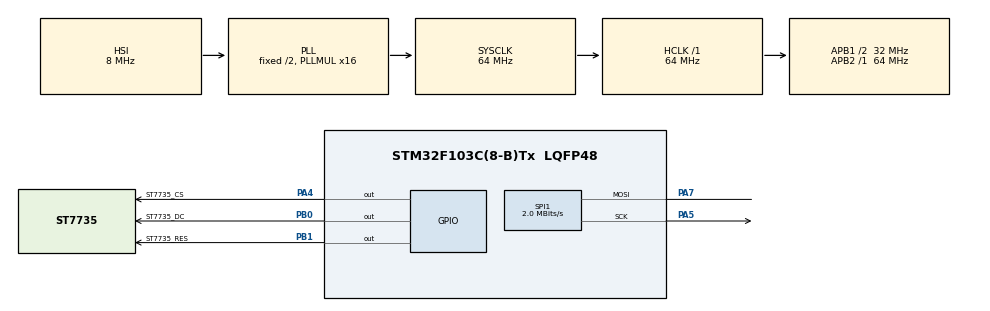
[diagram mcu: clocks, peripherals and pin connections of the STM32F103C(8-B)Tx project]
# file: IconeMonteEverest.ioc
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Mcu.Family=STM32F1
Mcu.Name=STM32F103C(8-B)Tx
Mcu.Package=LQFP48
NVIC.PriorityGroup=NVIC_PRIORITYGROUP_4
PA13.Mode=Serial_Wire
PA13.Signal=SYS_JTMS-SWDIO
PA14.Mode=Serial_Wire
PA14.Signal=SYS_JTCK-SWCLK
PA4.GPIO_Label=ST7735_CS
PA4.Signal=GPIO_Output
PA5.Mode=Simplex_Bidirectional_Master
PA5.Signal=SPI1_SCK
PA7.Mode=Simplex_Bidirectional_Master
PA7.Signal=SPI1_MOSI
PB0.GPIO_Label=ST7735_DC
PB0.Signal=GPIO_Output
PB1.GPIO_Label=ST7735_RES
PB1.Signal=GPIO_Output
ProjectManager.HeapSize=0x200
ProjectManager.StackSize=0x400
ProjectManager.TargetToolchain=STM32CubeIDE
RCC.AHBFreq_Value=64000000
RCC.APB1CLKDivider=RCC_HCLK_DIV2
RCC.APB1Freq_Value=32000000
RCC.APB1TimFreq_Value=64000000
RCC.APB2Freq_Value=64000000
RCC.APB2TimFreq_Value=64000000
RCC.HCLKFreq_Value=64000000
RCC.PLLMUL=RCC_PLL_MUL16
RCC.SYSCLKFreq_VALUE=64000000
RCC.SYSCLKSource=RCC_SYSCLKSOURCE_PLLCLK
RCC.USBFreq_Value=64000000
SPI1.BaudRatePrescaler=SPI_BAUDRATEPRESCALER_32
SPI1.CLKPolarity=SPI_POLARITY_LOW
SPI1.CalculateBaudRate=2.0 MBits/s
SPI1.Direction=SPI_DIRECTION_1LINE
SPI1.Mode=SPI_MODE_MASTER
SPI1.VirtualType=VM_MASTER
board=custom

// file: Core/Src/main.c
/* USER CODE BEGIN Header */
/**
  ******************************************************************************
  * @file           : main.c
  * @brief          : Main program body
  ******************************************************************************
  * @attention
  *
  * <h2><center>&copy; Copyright (c) 2025 STMicroelectronics.
  * All rights reserved.</center></h2>
  *
  * This software component is licensed by ST under BSD 3-Clause license,
  * the "License"; You may not use this file except in compliance with the
  * License. You may obtain a copy of the License at:
  *                        opensource.org/licenses/BSD-3-Clause
  *
  ******************************************************************************
  */
/* USER CODE END Header */
#include "main.h"

/* USER CODE BEGIN Includes */
#include "st7735\st7735.h"
#include <stdio.h>
/* USER CODE END Includes */

SPI_HandleTypeDef hspi1;

/* USER CODE BEGIN PV */
/*#define ANA_LELE_HEIGHT 24
#define ANA_LELE_WIDTH 24

// array size is 1152
static const uint16_t Ana_lele[][24*24/2] = {
  0x83ff, 0x80ff, 0x80ff, 0x80ff, 0x81ff, 0xffff, 0xffff, 0xffff, 0xffff, 0xffff, 0xffff, 0x9fdf, 0x7ed7, 0x3ecf, 0xbdb6, 0x1dbf, 0x1db7, 0xdda6, 0x1daf, 0x9fdf, 0xffff, 0xffff, 0xffff, 0xffff,
  0x80ff, 0x80ff, 0x80ff, 0x80ff, 0x80ff, 0xffff, 0xffff, 0xffff, 0xffff, 0xffff, 0x9edf, 0x1db7, 0x1db7, 0xddb6, 0x19b6, 0xd0cc, 0xb5bd, 0x1db7, 0xdd9e, 0xdda6, 0x9edf, 0xffff, 0xffff, 0xffff,
  0x80ff, 0x80ff, 0x80ff, 0x80ff, 0xcdff, 0xffff, 0xffff, 0xffff, 0xffff, 0x9edf, 0x1db7, 0x1db7, 0x39ae, 0x39b6, 0x8fcc, 0x0cc4, 0x4ec4, 0xf7bd, 0x1db7, 0xdd9e, 0xdd9e, 0x9edf, 0xffff, 0xffff,
  0x80ff, 0x80ff, 0x80ff, 0xcdff, 0xffff, 0xffff, 0xffff, 0xffff, 0x5ec7, 0xfda6, 0x1daf, 0xb6b5, 0x95ad, 0x6ec4, 0x6ecc, 0xd0cc, 0x0dc4, 0x2dc4, 0x53bd, 0x1daf, 0xdd9e, 0xdd9e, 0x9edf, 0xffff,
  0xffff, 0xffff, 0xffff, 0xffff, 0xffff, 0xffff, 0xffff, 0x1eb7, 0xdd9e, 0xfdae, 0xb6b5, 0xd6a5, 0x0cbc, 0x4ec4, 0x72d5, 0x3bf7, 0x2cc4, 0xebbb, 0xebbb, 0x32bd, 0xfda6, 0xdd9e, 0xfda6, 0x9edf,
  0xffff, 0xffff, 0xffff, 0xffff, 0xffff, 0xffff, 0x3ebf, 0xdd9e, 0xddae, 0x95bd, 0xd6a5, 0x0bbc, 0xebbb, 0x11cd, 0xffff, 0x3bf7, 0xf0cc, 0x2cbc, 0xebbb, 0xebbb, 0x12c5, 0x3ebf, 0xfda6, 0x3ebf,
  0xffff, 0xffff, 0xffff, 0xffff, 0x9fdf, 0x3ebf, 0xfda6, 0x39b6, 0x18ae, 0xf8a5, 0x2dc4, 0x0cbc, 0x6dc4, 0xffff, 0xffff, 0xffff, 0x72d5, 0xcfcc, 0x0cbc, 0xebbb, 0xebbb, 0x32d5, 0x5ec7, 0x1db7,
  0xffff, 0xffff, 0xffff, 0x9edf, 0xdd9e, 0xfda6, 0x19ae, 0x7ba6, 0x7aa6, 0x6ecc, 0x8ecc, 0xafcc, 0xffff, 0xffff, 0xffff, 0xffff, 0xffff, 0x72d5, 0xcfcc, 0xebbb, 0xebbb, 0xebbb, 0x12d5, 0x5ec7,
  0xffff, 0xffff, 0x9edf, 0xfda6, 0xdd9e, 0x18b6, 0x5aa6, 0x59a6, 0x8fcc, 0xcfcc, 0x72d5, 0xffff, 0xffff, 0xffff, 0xffff, 0xffff, 0xffff, 0xffff, 0x72d5, 0xcfcc, 0x0cbc, 0x0cbc, 0x0cc4, 0xb5e5,
  0xffff, 0x9edf, 0xfda6, 0xdda6, 0xf8b5, 0x5aa6, 0xf8ad, 0x6ecc, 0xf0cc, 0x72d5, 0xffff, 0xffff, 0xffff, 0xffff, 0xffff, 0xffff, 0xffff, 0xffff, 0xffff, 0x72d5, 0xf0cc, 0x2cc4, 0x2dc4, 0x4ecc,
  0x9edf, 0xfdae, 0xddae, 0xf7ad, 0x9b9e, 0xf7ad, 0x6ecc, 0x52d5, 0x36e6, 0xffff, 0xffff, 0xffff, 0xffff, 0xffff, 0xffff, 0xffff, 0xffff, 0xffff, 0xffff, 0xffff, 0x36e6, 0x52d5, 0x2cbc, 0x4dc4,
  0x1daf, 0xddae, 0x96bd, 0x39a6, 0x74b5, 0x8fcc, 0x72d5, 0xffff, 0xffff, 0xffff, 0xffff, 0x7def, 0x9ad6, 0x5def, 0x7def, 0x59ce, 0x59ce, 0x5def, 0x5def, 0x59ce, 0x59ce, 0x5def, 0x72d5, 0x6dc4,
  0xddbe, 0x95bd, 0xd6ad, 0x0cbc, 0x8ec4, 0x72d5, 0xffff, 0xffff, 0xffff, 0xffff, 0xffff, 0x59ce, 0x18c6, 0x38c6, 0x59ce, 0x18c6, 0x18c6, 0x18c6, 0x18c6, 0x18c6, 0x18c6, 0x18c6, 0x59ce, 0xb4cd,
  0xb6bd, 0xd7ad, 0x6ecc, 0x4dc4, 0x72d5, 0xffff, 0xffff, 0xffff, 0xffff, 0xffff, 0xffff, 0x38c6, 0x18c6, 0x18c6, 0x18c6, 0x18c6, 0x18c6, 0x18c6, 0x18c6, 0x18c6, 0x18c6, 0x18c6, 0x18c6, 0x38c6,
  0x54b5, 0x6ecc, 0x52d5, 0x36e6, 0xffff, 0xffff, 0xffff, 0xffff, 0xffff, 0xffff, 0xffff, 0x1ce7, 0x18c6, 0x9ad6, 0x18c6, 0x18c6, 0x18c6, 0x18c6, 0x18c6, 0x18c6, 0x18c6, 0x18c6, 0x18c6, 0xfbde,
  0x8fcc, 0x72d5, 0xffff, 0xffff, 0xffff, 0x7def, 0x9ad6, 0x5def, 0xffff, 0xffff, 0xffff, 0xffff, 0xffff, 0xffff, 0x1ce7, 0x18c6, 0x18c6, 0x18c6, 0x18c6, 0xfbde, 0xffff, 0xffff, 0xffff, 0xffff,
  0x72d5, 0xffff, 0xffff, 0x7def, 0x59ce, 0x38c6, 0x18c6, 0x38c6, 0xffff, 0xffff, 0xffff, 0xffff, 0xffff, 0xffff, 0xffff, 0xffff, 0xffff, 0xffff, 0xffff, 0xffff, 0xffff, 0xffff, 0xffff, 0xffff,
  0xffff, 0xffff, 0xffff, 0x59ce, 0x18c6, 0x18c6, 0x18c6, 0x18c6, 0x38c6, 0x59ce, 0x5def, 0xffff, 0xffff, 0xffff, 0xffff, 0xffff, 0xffff, 0xffff, 0xffff, 0xffff, 0xffff, 0xffff, 0xffff, 0xffff,
  0xffff, 0xffff, 0xffff, 0xdbde, 0x18c6, 0x18c6, 0x38c6, 0x38c6, 0x18c6, 0x18c6, 0x38c6, 0xffff, 0xffff, 0xffff, 0xffff, 0xffff, 0xffff, 0xffff, 0xffff, 0xffff, 0xffff, 0xffff, 0xffff, 0xffff,
  0xffff, 0xffff, 0xffff, 0x59ce, 0x18c6, 0x18c6, 0x18c6, 0x18c6, 0x18c6, 0x18c6, 0x18c6, 0xffff, 0xffff, 0xffff, 0xffff, 0xffff, 0xffff, 0xffff, 0xffff, 0xffff, 0xffff, 0xffff, 0xffff, 0xffff,
  0xffff, 0x7def, 0x59ce, 0x18c6, 0x18c6, 0x18c6, 0x18c6, 0x18c6, 0x9ad6, 0x18c6, 0xfbde, 0xffff, 0xffff, 0xffff, 0xffff, 0xffff, 0xffff, 0xffff, 0xffff, 0xffff, 0xffff, 0xffff, 0xffff, 0xffff,
  0xffff, 0x59ce, 0x18c6, 0x18c6, 0x18c6, 0x18c6, 0x18c6, 0x38c6, 0xffff, 0xffff, 0xffff, 0xffff, 0xffff, 0xffff, 0xffff, 0xffff, 0xffff, 0xffff, 0xffff, 0xffff, 0xffff, 0xffff, 0xffff, 0xffff,
  0xffff, 0x1ce7, 0x18c6, 0x18c6, 0x18c6, 0x18c6, 0x18c6, 0xfbde, 0xffff, 0xffff, 0xffff, 0xffff, 0xffff, 0xffff, 0xffff, 0xffff, 0xffff, 0xffff, 0xffff, 0xffff, 0xffff, 0xffff, 0xffff, 0xffff,
  0xffff, 0xffff, 0xffff, 0xffff, 0xffff, 0xffff, 0xffff, 0xffff, 0xffff, 0xffff, 0xffff, 0xffff, 0xffff, 0xffff, 0xffff, 0xffff, 0xffff, 0xffff, 0xffff, 0xffff, 0xffff, 0xffff, 0xffff, 0xffff
};*/
#define _2_HEIGHT 32
#define _2_WIDTH 32

// array size is 2048
static const uint16_t _2[][32*32/2] = {
  0x1d05, 0x1d05, 0x1d05, 0x1d05, 0x1d05, 0x1d05, 0x1d05, 0x1d05, 0x1d05, 0x1d05, 0x1d05, 0x1d05, 0x3d05, 0xbd35, 0xbd35, 0x3d0d, 0x1d05, 0x1d05, 0x3d05, 0xbd35, 0xdd45, 0x7d25, 0x1d05, 0x1d05, 0x1d05, 0x1d05, 0x1d05, 0x1d05, 0x1d05, 0x1d05, 0x1d05, 0x1d05,
  0x1d05, 0x1d05, 0x1d05, 0x1d05, 0x1d05, 0x1d05, 0x1d05, 0x1d05, 0x1d05, 0x1d05, 0x1d05, 0x9d2d, 0x1faf, 0xbfef, 0xbfef, 0x7e7e, 0x3d0d, 0x9d2d, 0x1faf, 0xbfef, 0xffff, 0x9fd7, 0x3d05, 0x1d05, 0x1d05, 0x1d05, 0x1d05, 0x1d05, 0x1d05, 0x1d05, 0x1d05, 0x1d05,
  0xfd4d, 0x5fc7, 0x5fcf, 0xbd35, 0x1d05, 0x1d05, 0x1d05, 0x1d05, 0x1d05, 0x1d05, 0x7d1d, 0x7fcf, 0xffff, 0xffff, 0xffff, 0xffff, 0xffff, 0xffff, 0xffff, 0xffff, 0xffff, 0xffff, 0x7fcf, 0x7d25, 0x1d05, 0x1d05, 0x1d05, 0x1d05, 0x1d05, 0x1d05, 0x1d05, 0x1d05,
  0xffff, 0xffff, 0xffff, 0x9fdf, 0x7e7e, 0x5d15, 0x1d05, 0x1d05, 0x1d05, 0x1d05, 0xdd45, 0xffff, 0xffff, 0xffff, 0xffff, 0xffff, 0xffff, 0xffff, 0xffff, 0xffff, 0xffff, 0xffff, 0xffff, 0xdd45, 0x1d05, 0x1d05, 0x1d05, 0x1d05, 0x1d05, 0x1d05, 0x1d05, 0x1d05,
  0xffff, 0xffff, 0xffff, 0xffff, 0xffff, 0xdd45, 0x1d05, 0x1d05, 0x1d05, 0x3d05, 0x7fcf, 0xffff, 0xffff, 0xffff, 0xffff, 0xffff, 0xffff, 0xffff, 0xffff, 0xffff, 0xffff, 0xffff, 0x1eaf, 0x7d1d, 0x1d05, 0x1d05, 0x1d05, 0x1d05, 0x1d05, 0x1d05, 0x1d05, 0x1d05,
  0xffff, 0xffff, 0xffff, 0xffff, 0xbfe7, 0x9d2d, 0x1d05, 0x1d05, 0x1d05, 0x1d05, 0x5e6e, 0xffff, 0xffff, 0xffff, 0xffff, 0xffff, 0xffff, 0xffff, 0xffff, 0xffff, 0xffff, 0x5fc7, 0x3d05, 0x1d05, 0x1d05, 0x1d05, 0x1d05, 0x1d05, 0x1d05, 0x1d05, 0x1d05, 0x1d05,
  0xffff, 0xffff, 0xdfef, 0x9e86, 0x3d05, 0x1d05, 0x1d05, 0x1d05, 0x1d05, 0x1d05, 0x5d1d, 0xfea6, 0x3fbf, 0x7fd7, 0xffff, 0xffff, 0x5fc7, 0x3e66, 0xbfe7, 0xbfef, 0xdbce, 0x762c, 0x1b1d, 0x1d05, 0x1d05, 0x1d05, 0x1d05, 0x1d05, 0x1d05, 0x1d05, 0x1d05, 0x1d05,
  0xffff, 0xffff, 0x9e86, 0x1d05, 0x1d05, 0x1d05, 0x1d05, 0x1c05, 0x1c05, 0x1c05, 0x1d05, 0x1d05, 0x1d05, 0x5d1d, 0xdd45, 0xdd45, 0x7d1d, 0x1d05, 0x9d2d, 0xf995, 0x6529, 0x4108, 0x6b22, 0x1d05, 0x1d05, 0x1d05, 0x1d05, 0x1d05, 0x1d05, 0x1d05, 0x1d05, 0x1d05,
  0x1d05, 0x1d05, 0x1d05, 0x1d05, 0x1d05, 0x1d05, 0x1c0d, 0x9474, 0x0842, 0xb91c, 0x1d05, 0x1d05, 0x1d05, 0x1d05, 0x1d05, 0x1d05, 0x1d05, 0x1d05, 0xd924, 0x6529, 0x0000, 0x0000, 0x4609, 0x1c0d, 0x1d05, 0x1d05, 0x1d05, 0x1d05, 0x1d05, 0x1d05, 0x1d05, 0x1d05,
  0x1d05, 0x1d05, 0x1d05, 0x1d05, 0x1d05, 0x1c05, 0x936c, 0xa210, 0x0000, 0xd503, 0x1d05, 0x1d05, 0x1d05, 0x1d05, 0x1d05, 0x1d05, 0x1d05, 0x1c05, 0x2e43, 0x2000, 0x4108, 0x2000, 0x6108, 0x160c, 0x1c05, 0x1d05, 0x1d05, 0x1d05, 0x1d05, 0x1d05, 0x1d05, 0x1d05,
  0x1d05, 0x1d05, 0x1d05, 0x1d05, 0x1d05, 0xfc04, 0x8208, 0x0000, 0x0000, 0x931b, 0x1c05, 0x1d05, 0x1d05, 0x1d05, 0x1d05, 0x1d05, 0x1c05, 0x1254, 0x2000, 0x8210, 0xb18c, 0xc631, 0x0000, 0x921b, 0x1c05, 0x1d05, 0x1d05, 0x1d05, 0x1d05, 0x1d05, 0x1c05, 0x3b25,
  0x1d05, 0x1d05, 0x1d05, 0x1d05, 0x1d05, 0xb654, 0x2000, 0x0000, 0x0000, 0x0419, 0xfc04, 0x1d05, 0x1d05, 0x1d05, 0x1d05, 0x1c05, 0xda1c, 0x4519, 0x0000, 0xb294, 0xed4d, 0x6a43, 0x0000, 0xe418, 0xf754, 0x1c05, 0x1d05, 0x1d05, 0x1d05, 0x1c05, 0x1c05, 0xcd32,
  0x1d05, 0x1d05, 0x1d05, 0x1d05, 0x1c0d, 0xa811, 0x0000, 0xcb5a, 0xc318, 0x0000, 0x904b, 0x1d05, 0x1d05, 0x1d05, 0x1d05, 0x1c05, 0xcb52, 0x0000, 0x8529, 0x2b3d, 0x8925, 0x9496, 0x0421, 0x0000, 0x8711, 0x1c0d, 0x1d05, 0x1d05, 0x3c0d, 0x5714, 0xeb5a, 0x4100,
  0x1d05, 0x1d05, 0x1d05, 0x1c05, 0x736c, 0x6108, 0xa210, 0x0d55, 0xf39c, 0x2000, 0x2519, 0xda1c, 0x1c05, 0x1d05, 0x1c05, 0x7544, 0x2000, 0x2000, 0x15a6, 0xaa35, 0x8925, 0x8925, 0xe82b, 0x0000, 0x6108, 0x160c, 0x1c05, 0x1c05, 0x936c, 0xa310, 0x2000, 0x2000,
  0x1d05, 0x1d05, 0x1c05, 0x1b25, 0x8208, 0x0000, 0x6842, 0xed4d, 0x4b45, 0x4421, 0x2000, 0xaa52, 0xda1c, 0x1c05, 0xb91c, 0x0419, 0x2000, 0x2c63, 0x8925, 0x8925, 0x8925, 0x8925, 0x2a35, 0x4419, 0x0000, 0xcb52, 0xf423, 0x8629, 0x0000, 0x0000, 0x8521, 0x149e,
  0x1d05, 0x1d05, 0x1c05, 0xcd2a, 0x0000, 0x2000, 0xe92c, 0x8925, 0xab35, 0xed63, 0x0000, 0x0000, 0x4b1a, 0xf754, 0xa811, 0x0000, 0xa631, 0x1176, 0x8925, 0x8925, 0x8925, 0x8925, 0x6925, 0xcb53, 0x0000, 0x0000, 0x2000, 0x0000, 0x0000, 0xe739, 0x0a2d, 0x8925,
  0x1d05, 0x1d05, 0xb91c, 0x0419, 0x2000, 0x0943, 0x6925, 0x8925, 0x8925, 0x8925, 0x328d, 0x0000, 0xe318, 0xe318, 0x0000, 0x8210, 0x6e64, 0x8925, 0x8925, 0x8925, 0x8925, 0x8925, 0x8925, 0x6925, 0xc318, 0x0000, 0x8210, 0x2a4b, 0xb496, 0x8925, 0x8925, 0x8925,
  0x1d05, 0x1c05, 0x1264, 0x0000, 0xa631, 0xad4d, 0x8925, 0x8925, 0x8925, 0x8925, 0xc934, 0xc318, 0x0000, 0x0000, 0x6529, 0x0d55, 0xed4d, 0x8925, 0x8925, 0x8925, 0x8925, 0x8925, 0x8925, 0x8925, 0xf39c, 0x2000, 0x4529, 0x4c45, 0x8925, 0x8925, 0x8925, 0x8925,
  0x1d05, 0xfc04, 0x8208, 0x0000, 0x251a, 0x6925, 0x8925, 0x8925, 0x8925, 0x8925, 0xcd4d, 0xca4a, 0x0000, 0x0000, 0x872a, 0x8925, 0x8925, 0x8925, 0x8925, 0x8925, 0x8925, 0x8925, 0x8925, 0x8925, 0x4b45, 0x4421, 0x2000, 0xeb5a, 0x8925, 0x8925, 0x8925, 0x8925,
  0x1d05, 0xb654, 0x2000, 0x0000, 0x0a2d, 0x8925, 0x8925, 0x8925, 0x8925, 0x8925, 0x8925, 0x4a35, 0x494a, 0x0000, 0x6421, 0x6b3d, 0x8925, 0x8925, 0x8925, 0x8925, 0x8925, 0x8925, 0x8925, 0x8925, 0xab35, 0xed5b, 0x0000, 0x0000, 0x2e65, 0x8925, 0x8925, 0x8925,
  0x3c0d, 0xc819, 0x0000, 0xeb5a, 0x8925, 0x8925, 0x8925, 0x8925, 0x8925, 0x8925, 0x8925, 0x8925, 0x6824, 0x6108, 0x2000, 0x0934, 0x8925, 0x8925, 0x8925, 0x8925, 0x8925, 0x8925, 0x8925, 0x8925, 0x8925, 0x6925, 0x0319, 0x0000, 0xa309, 0x6925, 0x8925, 0x8925,
  0x5714, 0x8208, 0x0000, 0x6b44, 0x8925, 0x8925, 0x8925, 0x8925, 0x8925, 0x8925, 0x8925, 0x8925, 0x692d, 0x8311, 0x0000, 0x2421, 0x6925, 0x8925, 0x8925, 0x8925, 0x8925, 0x8925, 0x8925, 0x8925, 0x8925, 0x8925, 0xc82b, 0x0000, 0x4421, 0x4b35, 0x8925, 0x8925,
  0x931b, 0x0000, 0x0311, 0x0a2d, 0x8925, 0x8925, 0x8925, 0x8925, 0x8925, 0x8925, 0x8925, 0x8925, 0x8925, 0xad54, 0x0000, 0x0000, 0x4b3d, 0x8925, 0x8925, 0x8925, 0x8925, 0x8925, 0x8925, 0x8925, 0x8925, 0x8925, 0x6824, 0x6108, 0x6108, 0x6824, 0x8925, 0x8925,
  0x4529, 0x0000, 0xe83a, 0x8925, 0x8925, 0x8925, 0x8925, 0x8925, 0x8925, 0x8925, 0x8925, 0x8925, 0x8925, 0x6925, 0x4000, 0x0000, 0x862a, 0x8925, 0x8925, 0x8925, 0x8925, 0x8925, 0x8925, 0x8925, 0x8925, 0x8925, 0x692d, 0x6824, 0x4824, 0x4925, 0x8925, 0x8925,
  0x0000, 0x2000, 0x9496, 0x8925, 0x8925, 0x8925, 0x8925, 0x8925, 0x8925, 0x8925, 0x8925, 0x8925, 0x8925, 0x8925, 0xcb53, 0x8209, 0x4b44, 0x8925, 0x8925, 0x8925, 0x8925, 0x8925, 0x8925, 0x8925, 0x8925, 0x8925, 0x8925, 0x8925, 0x8925, 0x8925, 0x8925, 0x8925,
  0x0000, 0xe739, 0x6925, 0x8925, 0x8925, 0x8925, 0x8925, 0x8925, 0x8925, 0x8925, 0x8925, 0x8925, 0x8925, 0x8925, 0x8925, 0x6925, 0x8925, 0x8925, 0x8925, 0x8925, 0x8925, 0x8925, 0x8925, 0x8925, 0x8925, 0x8925, 0x8925, 0x8925, 0x8925, 0x8925, 0x8925, 0x8925,
  0x041a, 0x0a2d, 0x8925, 0x8925, 0x8925, 0x8925, 0x8925, 0x8925, 0x8925, 0x8925, 0x8925, 0x8925, 0x8925, 0x8925, 0x8925, 0x8925, 0x8925, 0x8925, 0x8925, 0x8925, 0x8925, 0x8925, 0x8925, 0x8925, 0x8925, 0x8925, 0x8925, 0x8925, 0x8925, 0x8925, 0x8925, 0x8925,
  0x8925, 0x8925, 0x8925, 0x8925, 0x8925, 0x8925, 0x8925, 0x8925, 0x8925, 0x8925, 0x8925, 0x8925, 0x8925, 0x8925, 0x8925, 0x8925, 0x8925, 0x8925, 0x8925, 0x8925, 0x8925, 0x8925, 0x8925, 0x8925, 0x8925, 0x8925, 0x8925, 0x8925, 0x8925, 0x8925, 0x8925, 0x8925,
  0x8925, 0x8925, 0x8925, 0x8925, 0x8925, 0x8925, 0x8925, 0x8925, 0x8925, 0x8925, 0x8925, 0x8925, 0x8925, 0x8925, 0x8925, 0x8925, 0x8925, 0x8925, 0x8925, 0x8925, 0x8925, 0x8925, 0x8925, 0x8925, 0x8925, 0x8925, 0x8925, 0x8925, 0x8925, 0x8925, 0x8925, 0x8925,
  0x8925, 0x8925, 0x8925, 0x8925, 0x8925, 0x8925, 0x8925, 0x8925, 0x8925, 0x8925, 0x8925, 0x8925, 0x8925, 0x8925, 0x8925, 0x8925, 0x8925, 0x8925, 0x8925, 0x8925, 0x8925, 0x8925, 0x8925, 0x8925, 0x8925, 0x8925, 0x8925, 0x8925, 0x8925, 0x8925, 0x8925, 0x8925,
  0x8925, 0x8925, 0x8925, 0x8925, 0x8925, 0x8925, 0x8925, 0x8925, 0x8925, 0x8925, 0x8925, 0x8925, 0x8925, 0x8925, 0x8925, 0x8925, 0x8925, 0x8925, 0x8925, 0x8925, 0x8925, 0x8925, 0x8925, 0x8925, 0x8925, 0x8925, 0x8925, 0x8925, 0x8925, 0x8925, 0x8925, 0x8925,
  0x8925, 0x8925, 0x8925, 0x8925, 0x8925, 0x8925, 0x8925, 0x8925, 0x8925, 0x8925, 0x8925, 0x8925, 0x8925, 0x8925, 0x8925, 0x8925, 0x8925, 0x8925, 0x8925, 0x8925, 0x8925, 0x8925, 0x8925, 0x8925, 0x8925, 0x8925, 0x8925, 0x8925, 0x8925, 0x8925, 0x8925, 0x8925
};
#define _1_HEIGHT 32
#define _1_WIDTH 32

// array size is 2048
static const uint16_t _1[][32*32/2] = {
  0xffff, 0xdff7, 0x3d05, 0x1d05, 0x1d05, 0x1d05, 0x1d05, 0x1d05, 0x1d05, 0x1d05, 0x1d05, 0x1d05, 0x1d05, 0x1d05, 0x1d05, 0x1d05, 0x1d05, 0x1d05, 0x3d05, 0xbd35, 0xdd45, 0x7d25, 0x1d05, 0x3d0d, 0xdd3d, 0xdd3d, 0x5d15, 0x1d05, 0x1d05, 0x1d05, 0x1d05, 0x1d05,
  0xffff, 0xffff, 0xdd3d, 0x3d05, 0x3d05, 0x1d05, 0x1d05, 0x1d05, 0x1d05, 0x1d05, 0x1d05, 0x1d05, 0x1d05, 0x1d05, 0x1d05, 0x3d0d, 0x1d56, 0xfea6, 0x5e76, 0xbfef, 0xffff, 0x9fd7, 0x7d1d, 0xfea6, 0xdff7, 0xdff7, 0x1faf, 0x5d1d, 0x3d05, 0x1d05, 0x1d05, 0x1d05,
  0xffff, 0xffff, 0xbfe7, 0x7fd7, 0x5fcf, 0x7d25, 0x1d05, 0x1d05, 0x1d05, 0x1d05, 0x1c05, 0x1d05, 0x1d05, 0x1d05, 0x1d05, 0x5d15, 0xdfef, 0xffff, 0xffff, 0xffff, 0xffff, 0xffff, 0xdff7, 0xffff, 0xffff, 0xffff, 0xffff, 0xffff, 0x7fcf, 0xfd4d, 0x5d15, 0x1d05,
  0xffff, 0xffff, 0xffff, 0xffff, 0xfff7, 0xfea6, 0x5e76, 0x1e5e, 0x1d05, 0x1d05, 0x1d05, 0x1d05, 0x1d05, 0x1d05, 0x1d05, 0x9e86, 0xffff, 0xffff, 0xffff, 0xffff, 0xffff, 0xffff, 0xffff, 0xffff, 0xdfef, 0xffff, 0xffff, 0xffff, 0xffff, 0xfff7, 0xde9e, 0x1d05,
  0xffff, 0xffff, 0xffff, 0xffff, 0xffff, 0xffff, 0xffff, 0xfff7, 0x1d05, 0x1d05, 0x1d05, 0x1d05, 0x1d05, 0x1d05, 0x1d05, 0xdd45, 0x7fcf, 0xffff, 0xffff, 0xffff, 0xffff, 0xffff, 0xffff, 0xffff, 0xffff, 0xffff, 0xffff, 0xffff, 0xffff, 0xffff, 0x1eaf, 0x1d05,
  0xffff, 0xffff, 0xffff, 0xffff, 0xffff, 0xffff, 0xffff, 0x5fc7, 0x1d05, 0x1d05, 0x1d05, 0x1d05, 0x1d05, 0x1d05, 0x1d05, 0x1d05, 0xdd45, 0xffff, 0xffff, 0xffff, 0xffff, 0x9fdf, 0xffff, 0xffff, 0xffff, 0xffff, 0xffff, 0xffff, 0x7fcf, 0xdd45, 0x7d1d, 0x1d05,
  0xffff, 0xffff, 0xffff, 0xffff, 0xdff7, 0x1eaf, 0xfeae, 0x7d25, 0x1d05, 0x1d05, 0x1d05, 0x1d05, 0x1d05, 0x1d05, 0x1d05, 0x1d05, 0x9d2d, 0x3e66, 0xbfe7, 0xbfef, 0xdbce, 0x772c, 0x5c96, 0x7fd7, 0xffff, 0xffff, 0xffff, 0xffff, 0xfea6, 0x1d05, 0x1d05, 0x1d05,
  0xffff, 0xffff, 0xffff, 0x5fc7, 0xdd3d, 0x3d0d, 0x1d05, 0x1c05, 0x1c05, 0x1c05, 0x1d05, 0x1d05, 0x1d05, 0x1d05, 0x1d05, 0x1d05, 0x3d0d, 0x1d05, 0x9d2d, 0xf995, 0x6529, 0x4108, 0x6b22, 0x5d1d, 0xdd45, 0xdd45, 0xdd45, 0xdd45, 0x7d1d, 0x1d05, 0x1d05, 0x1d05,
  0xffff, 0xffff, 0xdff7, 0xdd3d, 0x1d05, 0x1d05, 0x1c0d, 0x9474, 0x0842, 0xb91c, 0x1d05, 0x1d05, 0x1d05, 0x1d05, 0x1d05, 0x1d05, 0x1d05, 0x1d05, 0xd924, 0x6529, 0x0000, 0x0000, 0x4609, 0x1c0d, 0x1d05, 0x1d05, 0x1d05, 0x1d05, 0x1d05, 0x1d05, 0x1d05, 0x1d05,
  0xffff, 0xfff7, 0xbe8e, 0x3d0d, 0x1d05, 0x1c05, 0x936c, 0xa210, 0x0000, 0xd503, 0x1d05, 0x1d05, 0x1d05, 0x1d05, 0x1d05, 0x1d05, 0x1d05, 0x1c05, 0x2e43, 0x2000, 0x4108, 0x2000, 0x6108, 0x160c, 0x1c05, 0x1d05, 0x1d05, 0x1d05, 0x1d05, 0x1d05, 0x1d05, 0x1d05,
  0x3d05, 0x3d05, 0x1d05, 0x1d05, 0x1d05, 0xfc04, 0x8208, 0x0000, 0x0000, 0x931b, 0x1c05, 0x1d05, 0x1d05, 0x1d05, 0x1d05, 0x1d05, 0x1c05, 0x1254, 0x2000, 0x8210, 0xb18c, 0xc631, 0x0000, 0x921b, 0x1c05, 0x1d05, 0x1d05, 0x1d05, 0x1d05, 0x1d05, 0x1c05, 0x3b25,
  0x1d05, 0x1d05, 0x1d05, 0x1d05, 0x1d05, 0xb654, 0x2000, 0x0000, 0x0000, 0x0419, 0xfc04, 0x1d05, 0x1d05, 0x1d05, 0x1d05, 0x1c05, 0xda1c, 0x4519, 0x0000, 0xb294, 0xed4d, 0x6a43, 0x0000, 0xe418, 0xf754, 0x1c05, 0x1d05, 0x1d05, 0x1d05, 0x1c05, 0x1c05, 0xcd32,
  0x1d05, 0x1d05, 0x1d05, 0x1d05, 0x1c0d, 0xa811, 0x0000, 0xcb5a, 0xc318, 0x0000, 0x904b, 0x1d05, 0x1d05, 0x1d05, 0x1d05, 0x1c05, 0xcb52, 0x0000, 0x8529, 0x2b3d, 0x8925, 0x9496, 0x0421, 0x0000, 0x8711, 0x1c0d, 0x1d05, 0x1d05, 0x3c0d, 0x5714, 0xeb5a, 0x4100,
  0x1d05, 0x1d05, 0x1d05, 0x1c05, 0x736c, 0x6108, 0xa210, 0x0d55, 0xf39c, 0x2000, 0x2519, 0xda1c, 0x1c05, 0x1d05, 0x1c05, 0x7544, 0x2000, 0x2000, 0x15a6, 0xaa35, 0x8925, 0x8925, 0xe82b, 0x0000, 0x6108, 0x160c, 0x1c05, 0x1c05, 0x936c, 0xa310, 0x2000, 0x2000,
  0x1d05, 0x1d05, 0x1c05, 0x1b25, 0x8208, 0x0000, 0x6842, 0xed4d, 0x4b45, 0x4421, 0x2000, 0xaa52, 0xda1c, 0x1c05, 0xb91c, 0x0419, 0x2000, 0x2c63, 0x8925, 0x8925, 0x8925, 0x8925, 0x2a35, 0x4419, 0x0000, 0xcb52, 0xf423, 0x8629, 0x0000, 0x0000, 0x8521, 0x149e,
  0x1d05, 0x1d05, 0x1c05, 0xcd2a, 0x0000, 0x2000, 0xe92c, 0x8925, 0xab35, 0xed63, 0x0000, 0x0000, 0x4b1a, 0xf754, 0xa811, 0x0000, 0xa631, 0x1176, 0x8925, 0x8925, 0x8925, 0x8925, 0x6925, 0xcb53, 0x0000, 0x0000, 0x2000, 0x0000, 0x0000, 0xe739, 0x0a2d, 0x8925,
  0x1d05, 0x1d05, 0xb91c, 0x0419, 0x2000, 0x0943, 0x6925, 0x8925, 0x8925, 0x8925, 0x328d, 0x0000, 0xe318, 0xe318, 0x0000, 0x8210, 0x6e64, 0x8925, 0x8925, 0x8925, 0x8925, 0x8925, 0x8925, 0x6925, 0xc318, 0x0000, 0x8210, 0x2a4b, 0xb496, 0x8925, 0x8925, 0x8925,
  0x1d05, 0x1c05, 0x1264, 0x0000, 0xa631, 0xad4d, 0x8925, 0x8925, 0x8925, 0x8925, 0xc934, 0xc318, 0x0000, 0x0000, 0x6529, 0x0d55, 0xed4d, 0x8925, 0x8925, 0x8925, 0x8925, 0x8925, 0x8925, 0x8925, 0xf39c, 0x2000, 0x4529, 0x4c45, 0x8925, 0x8925, 0x8925, 0x8925,
  0x1d05, 0xfc04, 0x8208, 0x0000, 0x251a, 0x6925, 0x8925, 0x8925, 0x8925, 0x8925, 0xcd4d, 0xca4a, 0x0000, 0x0000, 0x872a, 0x8925, 0x8925, 0x8925, 0x8925, 0x8925, 0x8925, 0x8925, 0x8925, 0x8925, 0x4b45, 0x4421, 0x2000, 0xeb5a, 0x8925, 0x8925, 0x8925, 0x8925,
  0x1d05, 0xb654, 0x2000, 0x0000, 0x0a2d, 0x8925, 0x8925, 0x8925, 0x8925, 0x8925, 0x8925, 0x4a35, 0x494a, 0x0000, 0x6421, 0x6b3d, 0x8925, 0x8925, 0x8925, 0x8925, 0x8925, 0x8925, 0x8925, 0x8925, 0xab35, 0xed5b, 0x0000, 0x0000, 0x2e65, 0x8925, 0x8925, 0x8925,
  0x3c0d, 0xc819, 0x0000, 0xeb5a, 0x8925, 0x8925, 0x8925, 0x8925, 0x8925, 0x8925, 0x8925, 0x8925, 0x6824, 0x6108, 0x2000, 0x0934, 0x8925, 0x8925, 0x8925, 0x8925, 0x8925, 0x8925, 0x8925, 0x8925, 0x8925, 0x6925, 0x0319, 0x0000, 0xa309, 0x6925, 0x8925, 0x8925,
  0x5714, 0x8208, 0x0000, 0x6b44, 0x8925, 0x8925, 0x8925, 0x8925, 0x8925, 0x8925, 0x8925, 0x8925, 0x692d, 0x8311, 0x0000, 0x2421, 0x6925, 0x8925, 0x8925, 0x8925, 0x8925, 0x8925, 0x8925, 0x8925, 0x8925, 0x8925, 0xc82b, 0x0000, 0x4421, 0x4b35, 0x8925, 0x8925,
  0x931b, 0x0000, 0x0311, 0x0a2d, 0x8925, 0x8925, 0x8925, 0x8925, 0x8925, 0x8925, 0x8925, 0x8925, 0x8925, 0xad54, 0x0000, 0x0000, 0x4b3d, 0x8925, 0x8925, 0x8925, 0x8925, 0x8925, 0x8925, 0x8925, 0x8925, 0x8925, 0x6824, 0x6108, 0x6108, 0x6824, 0x8925, 0x8925,
  0x4529, 0x0000, 0xe83a, 0x8925, 0x8925, 0x8925, 0x8925, 0x8925, 0x8925, 0x8925, 0x8925, 0x8925, 0x8925, 0x6925, 0x4000, 0x0000, 0x862a, 0x8925, 0x8925, 0x8925, 0x8925, 0x8925, 0x8925, 0x8925, 0x8925, 0x8925, 0x692d, 0x6824, 0x4824, 0x4925, 0x8925, 0x8925,
  0x0000, 0x2000, 0x9496, 0x8925, 0x8925, 0x8925, 0x8925, 0x8925, 0x8925, 0x8925, 0x8925, 0x8925, 0x8925, 0x8925, 0xcb53, 0x8209, 0x4b44, 0x8925, 0x8925, 0x8925, 0x8925, 0x8925, 0x8925, 0x8925, 0x8925, 0x8925, 0x8925, 0x8925, 0x8925, 0x8925, 0x8925, 0x8925,
  0x0000, 0xe739, 0x6925, 0x8925, 0x8925, 0x8925, 0x8925, 0x8925, 0x8925, 0x8925, 0x8925, 0x8925, 0x8925, 0x8925, 0x8925, 0x6925, 0x8925, 0x8925, 0x8925, 0x8925, 0x8925, 0x8925, 0x8925, 0x8925, 0x8925, 0x8925, 0x8925, 0x8925, 0x8925, 0x8925, 0x8925, 0x8925,
  0x041a, 0x0a2d, 0x8925, 0x8925, 0x8925, 0x8925, 0x8925, 0x8925, 0x8925, 0x8925, 0x8925, 0x8925, 0x8925, 0x8925, 0x8925, 0x8925, 0x8925, 0x8925, 0x8925, 0x8925, 0x8925, 0x8925, 0x8925, 0x8925, 0x8925, 0x8925, 0x8925, 0x8925, 0x8925, 0x8925, 0x8925, 0x8925,
  0x8925, 0x8925, 0x8925, 0x8925, 0x8925, 0x8925, 0x8925, 0x8925, 0x8925, 0x8925, 0x8925, 0x8925, 0x8925, 0x8925, 0x8925, 0x8925, 0x8925, 0x8925, 0x8925, 0x8925, 0x8925, 0x8925, 0x8925, 0x8925, 0x8925, 0x8925, 0x8925, 0x8925, 0x8925, 0x8925, 0x8925, 0x8925,
  0x8925, 0x8925, 0x8925, 0x8925, 0x8925, 0x8925, 0x8925, 0x8925, 0x8925, 0x8925, 0x8925, 0x8925, 0x8925, 0x8925, 0x8925, 0x8925, 0x8925, 0x8925, 0x8925, 0x8925, 0x8925, 0x8925, 0x8925, 0x8925, 0x8925, 0x8925, 0x8925, 0x8925, 0x8925, 0x8925, 0x8925, 0x8925,
  0x8925, 0x8925, 0x8925, 0x8925, 0x8925, 0x8925, 0x8925, 0x8925, 0x8925, 0x8925, 0x8925, 0x8925, 0x8925, 0x8925, 0x8925, 0x8925, 0x8925, 0x8925, 0x8925, 0x8925, 0x8925, 0x8925, 0x8925, 0x8925, 0x8925, 0x8925, 0x8925, 0x8925, 0x8925, 0x8925, 0x8925, 0x8925,
  0x8925, 0x8925, 0x8925, 0x8925, 0x8925, 0x8925, 0x8925, 0x8925, 0x8925, 0x8925, 0x8925, 0x8925, 0x8925, 0x8925, 0x8925, 0x8925, 0x8925, 0x8925, 0x8925, 0x8925, 0x8925, 0x8925, 0x8925, 0x8925, 0x8925, 0x8925, 0x8925, 0x8925, 0x8925, 0x8925, 0x8925, 0x8925,
  0x8925, 0x8925, 0x8925, 0x8925, 0x8925, 0x8925, 0x8925, 0x8925, 0x8925, 0x8925, 0x8925, 0x8925, 0x8925, 0x8925, 0x8925, 0x8925, 0x8925, 0x8925, 0x8925, 0x8925, 0x8925, 0x8925, 0x8925, 0x8925, 0x8925, 0x8925, 0x8925, 0x8925, 0x8925, 0x8925, 0x8925, 0x8925
};
#define _3_HEIGHT 32
#define _3_WIDTH 32

// array size is 2048
static const uint16_t _3[][32*32/2] = {
  0x1d05, 0x1d05, 0xbe8e, 0xffff, 0xffff, 0xde9e, 0x3d05, 0x1d05, 0x1d05, 0x5d15, 0xbd3d, 0x7d25, 0x1d05, 0x1d05, 0x1d05, 0x1d05, 0x1d05, 0x1d05, 0x1d05, 0x1d05, 0x1d05, 0x3d0d, 0x3d05, 0xbd35, 0xdd45, 0xbd3d, 0x5d15, 0x1d05, 0x7d1d, 0xdd45, 0xdd45, 0x7d25,
  0x1d05, 0x3d0d, 0xdff7, 0xffff, 0xffff, 0xffff, 0x3fbf, 0x3e66, 0x3d05, 0xbe8e, 0xdff7, 0x9fd7, 0x1d05, 0x1d05, 0x3d05, 0x1d05, 0x1d05, 0x1d05, 0x1d05, 0x1d05, 0x1d05, 0x5d15, 0xbd35, 0xbfe7, 0xffff, 0xdff7, 0x7fcf, 0x1eaf, 0x7fd7, 0xffff, 0xffff, 0x9fdf,
  0x3d0d, 0x1fb7, 0xffff, 0xffff, 0xffff, 0xffff, 0xffff, 0xffff, 0xbfef, 0xdff7, 0xffff, 0xffff, 0x9e86, 0x1fb7, 0x5e6e, 0x3d0d, 0x1d05, 0x1d05, 0x1d05, 0x1d05, 0x1d05, 0x5d1d, 0xbfe7, 0xffff, 0xffff, 0xffff, 0xffff, 0xffff, 0xffff, 0xffff, 0xffff, 0xffff,
  0x1d05, 0x3fbf, 0xffff, 0xffff, 0xffff, 0xffff, 0xffff, 0xffff, 0xffff, 0xffff, 0xffff, 0xffff, 0xffff, 0xffff, 0xdfef, 0x5e6e, 0x1d05, 0x1d05, 0x1d05, 0x1d05, 0xbd35, 0x7fcf, 0xffff, 0xffff, 0xffff, 0xffff, 0xffff, 0xffff, 0xffff, 0xffff, 0xffff, 0xffff,
  0xbe8e, 0xdff7, 0xffff, 0xffff, 0xffff, 0xffff, 0xffff, 0xffff, 0xffff, 0xffff, 0xffff, 0xffff, 0xffff, 0xffff, 0xffff, 0xbfe7, 0x1d05, 0x1d05, 0x1d05, 0x1d05, 0x7d1d, 0x5fcf, 0xffff, 0xffff, 0xffff, 0xffff, 0xffff, 0xffff, 0xffff, 0xffff, 0xffff, 0xffff,
  0xdff7, 0xffff, 0xffff, 0xffff, 0xffff, 0xffff, 0xffff, 0xffff, 0xffff, 0xffff, 0xffff, 0xffff, 0xbfef, 0x3e66, 0xdd45, 0x9d2d, 0x1d05, 0x1d05, 0x1d05, 0x1d05, 0x1d05, 0x7d25, 0xdd45, 0x9e86, 0xffff, 0xffff, 0xffff, 0xffff, 0xffff, 0xffff, 0xffff, 0xffff,
  0x7e76, 0xdfef, 0xdfef, 0x7fcf, 0xffff, 0xbfe7, 0x3fbf, 0x9e86, 0x7e76, 0x3fbf, 0x1eaf, 0x7d25, 0x3d05, 0x1d05, 0x1d05, 0x1d05, 0x1d05, 0x1d05, 0x1d05, 0x1c05, 0xfc04, 0x3704, 0xfb1c, 0x1d05, 0x7fd7, 0xffff, 0xffff, 0xffff, 0xffff, 0xffff, 0xffff, 0xffff,
  0x1d05, 0x9e86, 0x9e86, 0x5d1d, 0xdd45, 0x9d2d, 0x1d05, 0x1c05, 0x1c05, 0x1c05, 0x1d05, 0x1c05, 0x1c05, 0x1c05, 0x1c05, 0x1c05, 0x1d05, 0x1d05, 0x1c05, 0x7965, 0x8809, 0x8208, 0x6b22, 0x1d05, 0xdd45, 0xbfe7, 0xffff, 0xffff, 0xffff, 0xffff, 0xffff, 0x5fc7,
  0x1d05, 0x1d05, 0x1d05, 0x1d05, 0x1d05, 0x1d05, 0x1c0d, 0x9474, 0x0842, 0xb91c, 0x1c05, 0x5303, 0xb503, 0xba04, 0x7303, 0x3704, 0x1c05, 0x1d05, 0xd924, 0x6529, 0x0000, 0x0000, 0x4609, 0x1c0d, 0x1d05, 0x1d05, 0x5d1d, 0xfea6, 0x3fbf, 0x3fbf, 0x1e56, 0x1d05,
  0x1d05, 0x1d05, 0x1d05, 0x1d05, 0x1d05, 0x1c05, 0x936c, 0xa210, 0x0000, 0xd503, 0x1c05, 0xdb04, 0xf102, 0x4701, 0x9403, 0xdb04, 0x1d05, 0x1c05, 0x2e43, 0x2000, 0x4108, 0x2000, 0x6108, 0x160c, 0x1c05, 0x1d05, 0x1d05, 0x1d05, 0x1d05, 0x1d05, 0x1d05, 0x1d05,
  0x1d05, 0x1d05, 0x1d05, 0x1d05, 0x1d05, 0xfc04, 0x8208, 0x0000, 0x0000, 0x931b, 0x1c05, 0x1c05, 0x3804, 0x3804, 0x1c05, 0x1d05, 0x1c05, 0x1254, 0x2000, 0x8210, 0xb18c, 0xc631, 0x0000, 0x921b, 0x1c05, 0x1d05, 0x1d05, 0x1d05, 0x1d05, 0x1d05, 0x1c05, 0x3b25,
  0x1d05, 0x1d05, 0x1d05, 0x1d05, 0x1d05, 0xb654, 0x2000, 0x0000, 0x0000, 0x0419, 0xfc04, 0x1d05, 0x1d05, 0x1d05, 0x1d05, 0x1c05, 0xda1c, 0x4519, 0x0000, 0xb294, 0xed4d, 0x6a43, 0x0000, 0xe418, 0xf754, 0x1c05, 0x1d05, 0x1d05, 0x1d05, 0x1c05, 0x1c05, 0xcd32,
  0x1d05, 0x1d05, 0x1d05, 0x1d05, 0x1c0d, 0xa811, 0x0000, 0xcb5a, 0xc318, 0x0000, 0x904b, 0x1d05, 0x1d05, 0x1d05, 0x1d05, 0x1c05, 0xcb52, 0x0000, 0x8529, 0x2b3d, 0x8925, 0x9496, 0x0421, 0x0000, 0x8711, 0x1c0d, 0x1d05, 0x1d05, 0x3c0d, 0x5714, 0xeb5a, 0x4100,
  0x1d05, 0x1d05, 0x1d05, 0x1c05, 0x736c, 0x6108, 0xa210, 0x0d55, 0xf39c, 0x2000, 0x2519, 0xda1c, 0x1c05, 0x1d05, 0x1c05, 0x7544, 0x2000, 0x2000, 0x15a6, 0xaa35, 0x8925, 0x8925, 0xe82b, 0x0000, 0x6108, 0x160c, 0x1c05, 0x1c05, 0x936c, 0xa310, 0x2000, 0x2000,
  0x1d05, 0x1d05, 0x1c05, 0x1b25, 0x8208, 0x0000, 0x6842, 0xed4d, 0x4b45, 0x4421, 0x2000, 0xaa52, 0xda1c, 0x1c05, 0xb91c, 0x0419, 0x2000, 0x2c63, 0x8925, 0x8925, 0x8925, 0x8925, 0x2a35, 0x4419, 0x0000, 0xcb52, 0xf423, 0x8629, 0x0000, 0x0000, 0x8521, 0x149e,
  0x1d05, 0x1d05, 0x1c05, 0xcd2a, 0x0000, 0x2000, 0xe92c, 0x8925, 0xab35, 0xed63, 0x0000, 0x0000, 0x4b1a, 0xf754, 0xa811, 0x0000, 0xa631, 0x1176, 0x8925, 0x8925, 0x8925, 0x8925, 0x6925, 0xcb53, 0x0000, 0x0000, 0x2000, 0x0000, 0x0000, 0xe739, 0x0a2d, 0x8925,
  0x1d05, 0x1d05, 0xb91c, 0x0419, 0x2000, 0x0943, 0x6925, 0x8925, 0x8925, 0x8925, 0x328d, 0x0000, 0xe318, 0xe318, 0x0000, 0x8210, 0x6e64, 0x8925, 0x8925, 0x8925, 0x8925, 0x8925, 0x8925, 0x6925, 0xc318, 0x0000, 0x8210, 0x2a4b, 0xb496, 0x8925, 0x8925, 0x8925,
  0x1d05, 0x1c05, 0x1264, 0x0000, 0xa631, 0xad4d, 0x8925, 0x8925, 0x8925, 0x8925, 0xc934, 0xc318, 0x0000, 0x0000, 0x6529, 0x0d55, 0xed4d, 0x8925, 0x8925, 0x8925, 0x8925, 0x8925, 0x8925, 0x8925, 0xf39c, 0x2000, 0x4529, 0x4c45, 0x8925, 0x8925, 0x8925, 0x8925,
  0x1d05, 0xfc04, 0x8208, 0x0000, 0x251a, 0x6925, 0x8925, 0x8925, 0x8925, 0x8925, 0xcd4d, 0xca4a, 0x0000, 0x0000, 0x872a, 0x8925, 0x8925, 0x8925, 0x8925, 0x8925, 0x8925, 0x8925, 0x8925, 0x8925, 0x4b45, 0x4421, 0x2000, 0xeb5a, 0x8925, 0x8925, 0x8925, 0x8925,
  0x1d05, 0xb654, 0x2000, 0x0000, 0x0a2d, 0x8925, 0x8925, 0x8925, 0x8925, 0x8925, 0x8925, 0x4a35, 0x494a, 0x0000, 0x6421, 0x6b3d, 0x8925, 0x8925, 0x8925, 0x8925, 0x8925, 0x8925, 0x8925, 0x8925, 0xab35, 0xed5b, 0x0000, 0x0000, 0x2e65, 0x8925, 0x8925, 0x8925,
  0x3c0d, 0xc819, 0x0000, 0xeb5a, 0x8925, 0x8925, 0x8925, 0x8925, 0x8925, 0x8925, 0x8925, 0x8925, 0x6824, 0x6108, 0x2000, 0x0934, 0x8925, 0x8925, 0x8925, 0x8925, 0x8925, 0x8925, 0x8925, 0x8925, 0x8925, 0x6925, 0x0319, 0x0000, 0xa309, 0x6925, 0x8925, 0x8925,
  0x5714, 0x8208, 0x0000, 0x6b44, 0x8925, 0x8925, 0x8925, 0x8925, 0x8925, 0x8925, 0x8925, 0x8925, 0x692d, 0x8311, 0x0000, 0x2421, 0x6925, 0x8925, 0x8925, 0x8925, 0x8925, 0x8925, 0x8925, 0x8925, 0x8925, 0x8925, 0xc82b, 0x0000, 0x4421, 0x4b35, 0x8925, 0x8925,
  0x931b, 0x0000, 0x0311, 0x0a2d, 0x8925, 0x8925, 0x8925, 0x8925, 0x8925, 0x8925, 0x8925, 0x8925, 0x8925, 0xad54, 0x0000, 0x0000, 0x4b3d, 0x8925, 0x8925, 0x8925, 0x8925, 0x8925, 0x8925, 0x8925, 0x8925, 0x8925, 0x6824, 0x6108, 0x6108, 0x6824, 0x8925, 0x8925,
  0x4529, 0x0000, 0xe83a, 0x8925, 0x8925, 0x8925, 0x8925, 0x8925, 0x8925, 0x8925, 0x8925, 0x8925, 0x8925, 0x6925, 0x4000, 0x0000, 0x862a, 0x8925, 0x8925, 0x8925, 0x8925, 0x8925, 0x8925, 0x8925, 0x8925, 0x8925, 0x692d, 0x6824, 0x4824, 0x4925, 0x8925, 0x8925,
  0x0000, 0x2000, 0x9496, 0x8925, 0x8925, 0x8925, 0x8925, 0x8925, 0x8925, 0x8925, 0x8925, 0x8925, 0x8925, 0x8925, 0xcb53, 0x8209, 0x4b44, 0x8925, 0x8925, 0x8925, 0x8925, 0x8925, 0x8925, 0x8925, 0x8925, 0x8925, 0x8925, 0x8925, 0x8925, 0x8925, 0x8925, 0x8925,
  0x0000, 0xe739, 0x6925, 0x8925, 0x8925, 0x8925, 0x8925, 0x8925, 0x8925, 0x8925, 0x8925, 0x8925, 0x8925, 0x8925, 0x8925, 0x6925, 0x8925, 0x8925, 0x8925, 0x8925, 0x8925, 0x8925, 0x8925, 0x8925, 0x8925, 0x8925, 0x8925, 0x8925, 0x8925, 0x8925, 0x8925, 0x8925,
  0x041a, 0x0a2d, 0x8925, 0x8925, 0x8925, 0x8925, 0x8925, 0x8925, 0x8925, 0x8925, 0x8925, 0x8925, 0x8925, 0x8925, 0x8925, 0x8925, 0x8925, 0x8925, 0x8925, 0x8925, 0x8925, 0x8925, 0x8925, 0x8925, 0x8925, 0x8925, 0x8925, 0x8925, 0x8925, 0x8925, 0x8925, 0x8925,
  0x8925, 0x8925, 0x8925, 0x8925, 0x8925, 0x8925, 0x8925, 0x8925, 0x8925, 0x8925, 0x8925, 0x8925, 0x8925, 0x8925, 0x8925, 0x8925, 0x8925, 0x8925, 0x8925, 0x8925, 0x8925, 0x8925, 0x8925, 0x8925, 0x8925, 0x8925, 0x8925, 0x8925, 0x8925, 0x8925, 0x8925, 0x8925,
  0x8925, 0x8925, 0x8925, 0x8925, 0x8925, 0x8925, 0x8925, 0x8925, 0x8925, 0x8925, 0x8925, 0x8925, 0x8925, 0x8925, 0x8925, 0x8925, 0x8925, 0x8925, 0x8925, 0x8925, 0x8925, 0x8925, 0x8925, 0x8925, 0x8925, 0x8925, 0x8925, 0x8925, 0x8925, 0x8925, 0x8925, 0x8925,
  0x8925, 0x8925, 0x8925, 0x8925, 0x8925, 0x8925, 0x8925, 0x8925, 0x8925, 0x8925, 0x8925, 0x8925, 0x8925, 0x8925, 0x8925, 0x8925, 0x8925, 0x8925, 0x8925, 0x8925, 0x8925, 0x8925, 0x8925, 0x8925, 0x8925, 0x8925, 0x8925, 0x8925, 0x8925, 0x8925, 0x8925, 0x8925,
  0x8925, 0x8925, 0x8925, 0x8925, 0x8925, 0x8925, 0x8925, 0x8925, 0x8925, 0x8925, 0x8925, 0x8925, 0x8925, 0x8925, 0x8925, 0x8925, 0x8925, 0x8925, 0x8925, 0x8925, 0x8925, 0x8925, 0x8925, 0x8925, 0x8925, 0x8925, 0x8925, 0x8925, 0x8925, 0x8925, 0x8925, 0x8925,
  0x8925, 0x8925, 0x8925, 0x8925, 0x8925, 0x8925, 0x8925, 0x8925, 0x8925, 0x8925, 0x8925, 0x8925, 0x8925, 0x8925, 0x8925, 0x8925, 0x8925, 0x8925, 0x8925, 0x8925, 0x8925, 0x8925, 0x8925, 0x8925, 0x8925, 0x8925, 0x8925, 0x8925, 0x8925, 0x8925, 0x8925, 0x8925
};

/* USER CODE END PV */

void SystemClock_Config(void);
static void MX_GPIO_Init(void);
static void MX_SPI1_Init(void);

int main(void)
{

  /* MCU Configuration--------------------------------------------------------*/

  /* Reset of all peripherals, Initializes the Flash interface and the Systick. */
  HAL_Init();

  /* Configure the system clock */
  SystemClock_Config();

  /* Initialize all configured peripherals */
  MX_GPIO_Init();
  MX_SPI1_Init();
  /* USER CODE BEGIN 2 */
ST7735_Init();
ST7735_FillScreen(WHITE);
  /* USER CODE END 2 */

  /* Infinite loop */
  while (1)
  {
	  SysTick->LOAD = 16000000;
	  ST7735_DrawImage(0, 0, 32, 32, (const uint16_t *)_2);
	  HAL_Delay(200);
	  ST7735_DrawImage(0, 0, 32, 32, (const uint16_t *)_1);
	  HAL_Delay(200);
	  ST7735_DrawImage(0, 0, 32, 32, (const uint16_t *)_3);
	  HAL_Delay(200);
  }
}

void SystemClock_Config(void)
{
  RCC_OscInitTypeDef RCC_OscInitStruct = {0};
  RCC_ClkInitTypeDef RCC_ClkInitStruct = {0};

  /** Initializes the RCC Oscillators according to the specified parameters
  * in the RCC_OscInitTypeDef structure.
  */
  RCC_OscInitStruct.OscillatorType = RCC_OSCILLATORTYPE_HSI;
  RCC_OscInitStruct.HSIState = RCC_HSI_ON;
  RCC_OscInitStruct.HSICalibrationValue = RCC_HSICALIBRATION_DEFAULT;
  RCC_OscInitStruct.PLL.PLLState = RCC_PLL_ON;
  RCC_OscInitStruct.PLL.PLLSource = RCC_PLLSOURCE_HSI_DIV2;
  RCC_OscInitStruct.PLL.PLLMUL = RCC_PLL_MUL16;
  if (HAL_RCC_OscConfig(&RCC_OscInitStruct) != HAL_OK)
  {
    Error_Handler();
  }
  /** Initializes the CPU, AHB and APB buses clocks
  */
  RCC_ClkInitStruct.ClockType = RCC_CLOCKTYPE_HCLK|RCC_CLOCKTYPE_SYSCLK
                              |RCC_CLOCKTYPE_PCLK1|RCC_CLOCKTYPE_PCLK2;
  RCC_ClkInitStruct.SYSCLKSource = RCC_SYSCLKSOURCE_PLLCLK;
  RCC_ClkInitStruct.AHBCLKDivider = RCC_SYSCLK_DIV1;
  RCC_ClkInitStruct.APB1CLKDivider = RCC_HCLK_DIV2;
  RCC_ClkInitStruct.APB2CLKDivider = RCC_HCLK_DIV1;

  if (HAL_RCC_ClockConfig(&RCC_ClkInitStruct, FLASH_LATENCY_2) != HAL_OK)
  {
    Error_Handler();
  }
}

static void MX_SPI1_Init(void)
{

  /* SPI1 parameter configuration*/
  hspi1.Instance = SPI1;
  hspi1.Init.Mode = SPI_MODE_MASTER;
  hspi1.Init.Direction = SPI_DIRECTION_1LINE;
  hspi1.Init.DataSize = SPI_DATASIZE_8BIT;
  hspi1.Init.CLKPolarity = SPI_POLARITY_LOW;
  hspi1.Init.CLKPhase = SPI_PHASE_1EDGE;
  hspi1.Init.NSS = SPI_NSS_SOFT;
  hspi1.Init.BaudRatePrescaler = SPI_BAUDRATEPRESCALER_32;
  hspi1.Init.FirstBit = SPI_FIRSTBIT_MSB;
  hspi1.Init.TIMode = SPI_TIMODE_DISABLE;
  hspi1.Init.CRCCalculation = SPI_CRCCALCULATION_DISABLE;
  hspi1.Init.CRCPolynomial = 10;
  if (HAL_SPI_Init(&hspi1) != HAL_OK)
  {
    Error_Handler();
  }

}

static void MX_GPIO_Init(void)
{
  GPIO_InitTypeDef GPIO_InitStruct = {0};

  /* GPIO Ports Clock Enable */
  __HAL_RCC_GPIOA_CLK_ENABLE();
  __HAL_RCC_GPIOB_CLK_ENABLE();

  /*Configure GPIO pin Output Level */
  HAL_GPIO_WritePin(ST7735_CS_GPIO_Port, ST7735_CS_Pin, GPIO_PIN_RESET);

  /*Configure GPIO pin Output Level */
  HAL_GPIO_WritePin(GPIOB, ST7735_DC_Pin|ST7735_RES_Pin, GPIO_PIN_RESET);

  /*Configure GPIO pin : ST7735_CS_Pin */
  GPIO_InitStruct.Pin = ST7735_CS_Pin;
  GPIO_InitStruct.Mode = GPIO_MODE_OUTPUT_PP;
  GPIO_InitStruct.Pull = GPIO_NOPULL;
  GPIO_InitStruct.Speed = GPIO_SPEED_FREQ_LOW;
  HAL_GPIO_Init(ST7735_CS_GPIO_Port, &GPIO_InitStruct);

  /*Configure GPIO pins : ST7735_DC_Pin ST7735_RES_Pin */
  GPIO_InitStruct.Pin = ST7735_DC_Pin|ST7735_RES_Pin;
  GPIO_InitStruct.Mode = GPIO_MODE_OUTPUT_PP;
  GPIO_InitStruct.Pull = GPIO_NOPULL;
  GPIO_InitStruct.Speed = GPIO_SPEED_FREQ_LOW;
  HAL_GPIO_Init(GPIOB, &GPIO_InitStruct);

}

void Error_Handler(void)
{
  __disable_irq();
  while (1)
  {
  }
}

/************************ (C) COPYRIGHT STMicroelectronics *****END OF FILE****/
